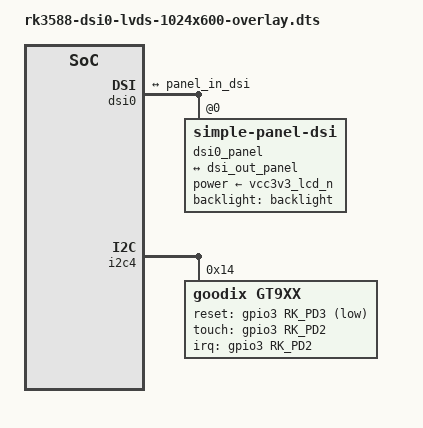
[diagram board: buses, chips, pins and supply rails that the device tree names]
/dts-v1/;
/plugin/;

#include <dt-bindings/gpio/gpio.h>
#include <dt-bindings/pinctrl/rockchip.h>
#include <dt-bindings/display/drm_mipi_dsi.h>
#include <dt-bindings/interrupt-controller/irq.h>

/ {
    fragment@0 {
        target = <&dsi0>;

        __overlay__ {
            status = "okay";

            dsi0_panel: panel@0 {
                status = "okay";
                compatible = "simple-panel-dsi";
                reg = <0>;
                power-supply = <&vcc3v3_lcd_n>;
                backlight = <&backlight>;
                reset-delay-ms = <10>;
                enable-delay-ms = <35>;
                prepare-delay-ms = <6>;
                unprepare-delay-ms = <0>;
                disable-delay-ms = <20>;
                dsi,flags = <(MIPI_DSI_MODE_VIDEO | MIPI_DSI_MODE_VIDEO_BURST | MIPI_DSI_MODE_LPM | MIPI_DSI_MODE_EOT_PACKET)>;
                dsi,format = <MIPI_DSI_FMT_RGB888>;
                dsi,lanes  = <4>;
                dsi,channel = <0>;
                size,width = <235>;
                size,height = <143>;

                panel-init-sequence = [
			29 02 06 3C 01 09 00 07 00
			29 02 06 14 01 06 00 00 00
			29 02 06 64 01 0B 00 00 00
			29 02 06 68 01 0B 00 00 00
			29 02 06 6C 01 0B 00 00 00
			29 02 06 70 01 0B 00 00 00
			29 02 06 34 01 1F 00 00 00
			29 02 06 10 02 1F 00 00 00
			29 02 06 04 01 01 00 00 00
			29 02 06 04 02 01 00 00 00
			29 02 06 50 04 20 01 F0 03

			29 02 06 54 04 14 00 A0 00
			29 02 06 58 04 00 04 A0 00
			29 02 06 5C 04 0A 00 17 00
			29 02 06 60 04 58 02 0C 00
			29 02 06 64 04 01 00 00 00
			29 02 06 A0 04 06 80 04 00

			29 02 06 A0 04 06 80 04 00
			29 02 06 04 05 04 00 00 00

			29 02 06 80 04 02 03 04 05
			29 02 06 84 04 06 07 07 0A
			29 02 06 88 04 0B 0C 0E 0F
			29 02 06 8C 04 0D 0E 0F 12
			29 02 06 90 04 16 17 13 14
			29 02 06 94 04 15 16 17 1B
			29 02 06 98 04 18 19 1A 06

			29 02 06 9C 04 31 04 00 00
		];

                panel-exit-sequence = [
                        05 05 01 28
                        05 78 01 10
                ];

                disp_timings0: display-timings {
                    native-mode = <&dsi0_timing0>;
                    dsi0_timing0: timing0 {
                        clock-frequency = <82000000>;
                        hactive = <1024>;
                        vactive = <600>;
                        hfront-porch = <1580>;
                        hsync-len = <10>;
                        hback-porch = <100>;
                        vfront-porch = <10>;
                        vsync-len = <10>;
                        vback-porch = <25>;
                        hsync-active = <0>;
                        vsync-active = <0>;
                        de-active = <0>;
                        pixelclk-active = <0>;
                    };
                };

                ports {
                    #address-cells = <1>;
                    #size-cells = <0>;

                    port@0 {
                        reg = <0>;
                        panel_in_dsi: endpoint {
                            remote-endpoint = <&dsi_out_panel>;
                        };
                    };
                };
            };

            ports {
                #address-cells = <1>;
                #size-cells = <0>;

                port@1 {
                    reg = <1>;
                    dsi_out_panel: endpoint {
                        remote-endpoint = <&panel_in_dsi>;
                    };
                };
            };
        };
    };

    fragment@1 {
        target = <&i2c4>;

        __overlay__ {
            status = "okay";
            pinctrl-0 = <&i2c4m3_xfer>;

            gt9xx@14 {
                compatible = "goodix,gt9xx";
                reg = <0x14>;
                interrupt-parent = <&gpio3>;
                interrupts = <RK_PD2 IRQ_TYPE_LEVEL_LOW>;
                reset-gpio = <&gpio3 RK_PD3 GPIO_ACTIVE_LOW>;
                touch-gpio = <&gpio3 RK_PD2 IRQ_TYPE_EDGE_RISING>;
                status = "okay";
                tp-size = <911>;
                max-x = <1024>;
                max-y = <600>;
            };
        };
    };
};

